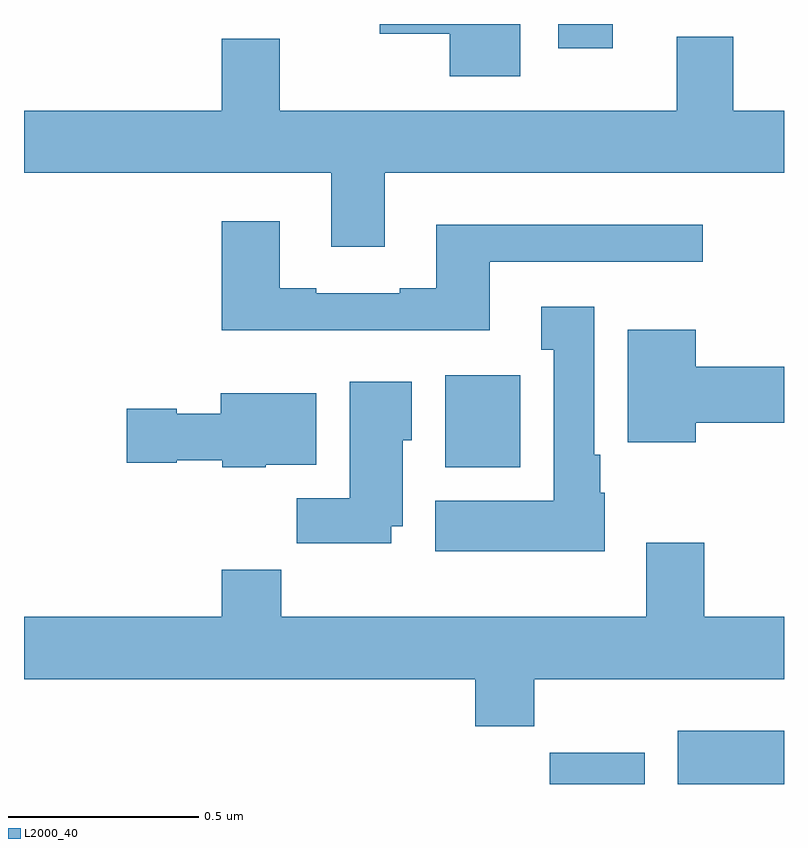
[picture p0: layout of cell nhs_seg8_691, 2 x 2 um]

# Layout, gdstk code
import gdstk
lib = gdstk.Library(unit=1e-6, precision=1e-09)
def R(c, l, rs):  # rectangles x0, y0, x1, y1
    for r in rs: c.add(gdstk.rectangle(r[:2], r[2:], *l))
def P(c, l, *ps):  # polygons
    for p in ps: c.add(gdstk.Polygon(p, *l))
L2000_40 = (2000, 40)

nhs_seg8_691 = lib.new_cell('nhs_seg8_691')
R(nhs_seg8_691, L2000_40, [(121.384,1106.9,121.633,1106.982), (121.721,1106.9,122,1107.04), (121.109,1107.734,121.306,1107.976), (121.406,1108.836,121.549,1108.9)])
P(nhs_seg8_691, L2000_40, [(121.306,1108.9),(120.936,1108.9),(120.936,1108.874),(121.121,1108.874),(121.121,1108.763),(121.306,1108.763)],
  [(120.949,1108.508),(122,1108.508),(122,1108.672),(121.866,1108.672),(121.866,1108.867),(121.718,1108.867),(121.718,1108.672),(120.673,1108.672),(120.673,1108.861),(120.521,1108.861),(120.521,1108.672),(120,1108.672),(120,1108.508),(120.809,1108.508),(120.809,1108.314),(120.949,1108.314)],
  [(121.225,1108.275),(121.786,1108.275),(121.786,1108.372),(121.085,1108.372),(121.085,1108.204),(120.989,1108.204),(120.989,1108.191),(120.769,1108.191),(120.769,1108.204),(120.673,1108.204),(120.673,1108.381),(120.521,1108.381),(120.521,1108.094),(121.225,1108.094)],
  [(121.528,1107.666),(121.516,1107.666),(121.516,1107.766),(121.501,1107.766),(121.501,1108.156),(121.361,1108.156),(121.361,1108.043),(121.394,1108.043),(121.394,1107.646),(121.082,1107.646),(121.082,1107.512),(121.528,1107.512)],
  [(121.768,1107.851),(122,1107.851),(122,1107.998),(121.768,1107.998),(121.768,1108.096),(121.589,1108.096),(121.589,1107.8),(121.768,1107.8)],
  [(120.967,1107.578),(120.997,1107.578),(120.997,1107.804),(121.021,1107.804),(121.021,1107.958),(120.857,1107.958),(120.857,1107.652),(120.718,1107.652),(120.718,1107.534),(120.967,1107.534)],
  [(120.636,1107.74),(120.769,1107.74),(120.769,1107.928),(120.518,1107.928),(120.518,1107.874),(120.402,1107.874),(120.402,1107.887),(120.27,1107.887),(120.27,1107.745),(120.402,1107.745),(120.402,1107.752),(120.522,1107.752),(120.522,1107.734),(120.636,1107.734)],
  [(121.343,1107.176),(122,1107.176),(122,1107.34),(121.79,1107.34),(121.79,1107.535),(121.637,1107.535),(121.637,1107.34),(120.677,1107.34),(120.677,1107.464),(120.521,1107.464),(120.521,1107.34),(120,1107.34),(120,1107.176),(121.187,1107.176),(121.187,1107.052),(121.343,1107.052)])

lib.write_gds('nhs_seg8_691.gds')
